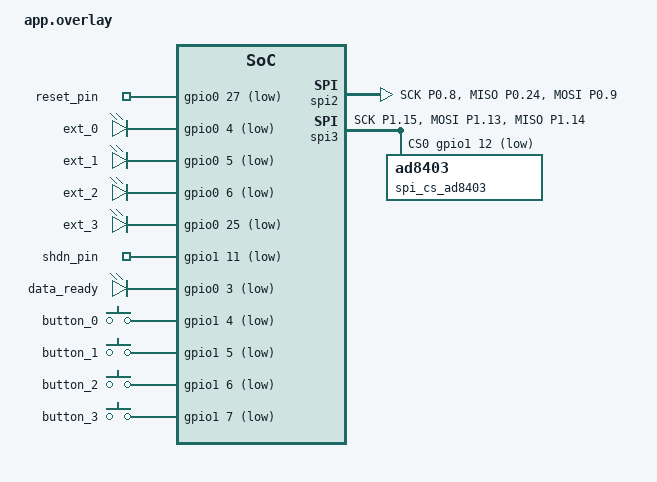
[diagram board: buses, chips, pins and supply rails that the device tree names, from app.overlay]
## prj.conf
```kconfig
# Enable the UART driver
CONFIG_UART_ASYNC_API=y
CONFIG_NRFX_UARTE0=y
CONFIG_SERIAL=y
CONFIG_GPIO=y

# Make sure printk is printing to the UART console
CONFIG_CONSOLE=y
CONFIG_UART_CONSOLE=y
CONFIG_HEAP_MEM_POOL_SIZE=4096

CONFIG_BT=y
CONFIG_BT_HCI=y
CONFIG_BT_PERIPHERAL=y
CONFIG_BT_GATT_CLIENT=y
CONFIG_BT_GATT_DM=y
CONFIG_BT_DEVICE_NAME="My_Nordic_Board"
CONFIG_BT_DEVICE_APPEARANCE=833
CONFIG_BT_MAX_CONN=1
CONFIG_BT_MAX_PAIRED=1
CONFIG_BT_L2CAP_TX_MTU=512
CONFIG_LOG_MODE_DEFERRED=y
CONFIG_LOG_BUFFER_SIZE=8192

# Enable the NUS service
CONFIG_BT_NUS=y

# Enable bonding
CONFIG_BT_SETTINGS=y
CONFIG_FLASH=y
CONFIG_FLASH_PAGE_LAYOUT=y
CONFIG_FLASH_MAP=y
CONFIG_NVS=y
CONFIG_SETTINGS=y

# Enable DK LED and Buttons library
CONFIG_DK_LIBRARY=y

# This example requires more workqueue stack
CONFIG_SYSTEM_WORKQUEUE_STACK_SIZE=2048

# Config logger
CONFIG_LOG=y
CONFIG_USE_SEGGER_RTT=y
CONFIG_LOG_BACKEND_RTT=y
CONFIG_LOG_BACKEND_UART=y
CONFIG_LOG_PRINTK=y
CONFIG_ASSERT=y

# SPIM
CONFIG_SPI=y
CONFIG_NRFX_SPIM2=y
CONFIG_MAIN_STACK_SIZE=4096

CONFIG_DEBUG=y
CONFIG_DEBUG_THREAD_INFO=y

CONFIG_NCS_SAMPLE_MCUMGR_BT_OTA_DFU_SPEEDUP=y

CONFIG_BT_CTLR_DATA_LENGTH_MAX=251
CONFIG_BT_CTLR_PHY_2M=y
CONFIG_BT_CTLR_PHY_CODED=y
CONFIG_BT_CTLR_SDC_MAX_CONN_EVENT_LEN_DEFAULT=4000000

CONFIG_BT_LL_SOFTDEVICE=y

CONFIG_BT_USER_DATA_LEN_UPDATE=y
CONFIG_BT_USER_PHY_UPDATE=y
```

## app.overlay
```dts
/ {
	chosen {
		nordic,nus-uart = &uart0;
	};
};

/ {
	aliases {
		reset = &reset_pin;
        drdy = &data_ready;

		ext0 = &ext_0;
        ext1 = &ext_1;
        ext2 = &ext_2;
        ext3 = &ext_3;

        swext0 = &button_0;
        swext1 = &button_1;
        swext2 = &button_2;
        swext3 = &button_3;

		shdn = &shdn_pin;
	};
};

/ {
	leds {
		compatible = "gpio-leds";
        
		reset_pin: rest {
			gpios = <&gpio0 27 GPIO_ACTIVE_LOW>;
		};

		ext_0: lambda_660 {
            gpios = <&gpio0 4 GPIO_ACTIVE_LOW>;
        };

        ext_1: lambda_735 {
            gpios = <&gpio0 5 GPIO_ACTIVE_LOW>;
        };

        ext_2: lambda_810 {
            gpios = <&gpio0 6 GPIO_ACTIVE_LOW>;
        };

        ext_3: lambda_940 {
            gpios = <&gpio0 25 GPIO_ACTIVE_LOW>;
        };

        shdn_pin: shut_down {
            gpios = <&gpio1 11 GPIO_ACTIVE_LOW>;
        };

        data_ready: drdy_pin {
            gpios = <&gpio0 3 GPIO_ACTIVE_LOW>;
        };
	};

	buttons {
        compatible = "gpio-keys";
        
        button_0: Change {
            gpios = <&gpio1 4 (GPIO_PULL_UP | GPIO_ACTIVE_LOW)>;
        };

        button_1: Increase {
            gpios = <&gpio1 5 (GPIO_PULL_UP | GPIO_ACTIVE_LOW)>;
        };

        button_2: Decrease {
            gpios = <&gpio1 6 (GPIO_PULL_UP | GPIO_ACTIVE_LOW)>;
        };

        button_3: Stop {
            gpios = <&gpio1 7 (GPIO_PULL_UP | GPIO_ACTIVE_LOW)>;
        };
    };
};


&pinctrl {
	spi_dummy: spi_dummy {
        group1 {
            psels = <NRF_PSEL(SPIM_SCK, 0, 8)>,
                <NRF_PSEL(SPIM_MISO, 0, 24)>,
                <NRF_PSEL(SPIM_MOSI, 0, 9)>;
        };
    };
	spi_dummy_sleep: spi_dummy_sleep {
        group1 {
            psels = <NRF_PSEL(SPIM_SCK, 0, 8)>,
                <NRF_PSEL(SPIM_MISO, 0, 24)>,
                <NRF_PSEL(SPIM_MOSI, 0, 9)>;
			low-power-enable;		
        };
    };
};

&spi2 {
	compatible = "nordic,nrf-spim";
	status = "okay";
	pinctrl-names = "default", "sleep";
	pinctrl-0 = <&spi_dummy>;
	pinctrl-1 = <&spi_dummy_sleep>;
};

&gpio0 {
	status = "okay";
	label = "GPIO_0";
};

&gpio1 {
	status = "okay";
	label = "GPIO_1";
};

&pinctrl {
	spi3_default: spi3_default {
		group1 {
			psels = <NRF_PSEL(SPIM_SCK, 1, 15)>,
					<NRF_PSEL(SPIM_MOSI, 1, 13)>,
					<NRF_PSEL(SPIM_MISO, 1, 14)>;
		};
	};

	spi3_sleep: spi3_sleep {
		group1 {
			psels = <NRF_PSEL(SPIM_SCK, 1, 15)>,
					<NRF_PSEL(SPIM_MOSI, 1, 13)>,
					<NRF_PSEL(SPIM_MISO, 1, 14)>;
			low-power-enable;
		};
	};
};

spi_ad8403: &spi3 {
    compatible = "nordic,nrf-spim";
    status = "okay";
    pinctrl-0 = <&spi3_default>;
    pinctrl-1 = <&spi3_sleep>;
    pinctrl-names = "default", "sleep";
    cs-gpios = <&gpio1 12 GPIO_ACTIVE_LOW>;
	spi_cs_ad8403:  ad8403@0 {
		reg = <0>;
	};
};
```

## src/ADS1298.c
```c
#include "ADS1298.h"
#include <nrfx_spim.h>
#include <zephyr/device.h>
#include <zephyr/devicetree.h>
#include <zephyr/drivers/gpio.h>

volatile enum state_t {idle, send_command, receive_data, read_data, processing_data} state = idle;
bool new_data_available = false;

static const nrfx_spim_t m_spi = NRFX_SPIM_INSTANCE(SPI_INSTANCE);
volatile uint8_t rx_buffer[27], tx_buffer[8];
uint8_t sample_number = 0;

const struct device *gpio_dev_0;

inline int32_t buffer_to_channel(uint8_t id);
bool ADS1298_receive_data();
ADS1298_data_t ADS1298_convert_data();

void spim_event_handler(nrfx_spim_evt_t const *p_event, void *p_context) 
{
    switch (p_event->type)
    {
    case NRFX_SPIM_EVENT_DONE:
        if(state == receive_data) {
            new_data_available = true;
        } 
        state = idle;
        break;
    default:
        break;
    }
    return;
}

#define APP_SPIM_CS_PIN (2)
#define APP_SPIM_SCK_PIN (8)
#define APP_SPIM_MISO_PIN (24)
#define APP_SPIM_MOSI_PIN (9)
#define NRFX_SPIM_PIN_NOT_USED 0xFF

bool ADS1298_init() {
    nrfx_spim_config_t config = NRFX_SPIM_DEFAULT_CONFIG(APP_SPIM_SCK_PIN, APP_SPIM_MOSI_PIN, APP_SPIM_MISO_PIN, NRFX_SPIM_PIN_NOT_USED);
    config.frequency = NRF_SPIM_FREQ_8M;
    config.ss_active_high = false;
    config.bit_order = SPIM_CONFIG_ORDER_MsbFirst;
    config.mode = NRF_SPIM_MODE_1;
    
    //nrfx_spim_uninit(&m_spi);
    int err = nrfx_spim_init(&m_spi, &config, spim_event_handler, NULL);

     if(err == NRFX_SUCCESS) {
    } else {
        return false;
    }
    
    gpio_dev_0 = device_get_binding("GPIO_0");

    if (gpio_dev_0 == NULL) {
		return false;
	}

    return true; 
}

void poll_dready() {
    if(gpio_pin_get(gpio_dev_0, 3) == 0) {
        ADS1298_receive_data();
    }
}

int spi_transfer(const nrfx_spim_xfer_desc_t *desc) {
    return nrfx_spim_xfer(&m_spi, desc, 0);
}

bool ADS1298_send_command(uint8_t command) {
    if(state == idle) {
        nrfx_spim_xfer_desc_t spim_xfer_desc = NRFX_SPIM_XFER_TX(tx_buffer, 1);
        spim_xfer_desc.p_rx_buffer = NULL;
        spim_xfer_desc.rx_length = 0;
        tx_buffer[0] = command;
        state = send_command;

        int err = spi_transfer(&spim_xfer_desc);
        if(err != NRFX_SUCCESS) {
        }
        return true;
    } else {
        return false;
    }
}

/* function de read bloquant */
uint8_t ADS1298_read_data() {
    if(state == idle) {
        state = read_data;
        new_data_available = false;
        nrfx_spim_xfer_desc_t spim_xfer_desc = NRFX_SPIM_XFER_RX((uint8_t *)rx_buffer, 1);

        spi_transfer(&spim_xfer_desc);
        while(state != idle)
        {
          __WFE();
        }
        return rx_buffer[0];
    } else {
        return ;
    }
}

bool ADS1298_receive_data() {
    if(state == idle) {
        state = receive_data;
        new_data_available = false;
        nrfx_spim_xfer_desc_t spim_xfer_desc = NRFX_SPIM_XFER_RX(rx_buffer, 27);
        spi_transfer(&spim_xfer_desc);
        return true;
    } else {
        return false;
    }
}

bool ADS1298_poll_new_data(ADS1298_data_t *data) {
    if(new_data_available) {
        new_data_available = false;
        state = processing_data;

        *data = ADS1298_convert_data();
       
        state = idle;
        return true;
    } else {
        return false;
    }
}

ADS1298_data_t ADS1298_convert_data() {
    /* Data structure: */
    /* 24 bit status */
    /*  - 1100 + LOFF_STATP(8 bit) + LOFF_STATN(8 bit) + GPIO(4 bit) */
    /* 8ch * 24 bits data */

    ADS1298_data_t data;
    
    data.lead_off_positive = rx_buffer[0] << 4;
    data.lead_off_positive |= (rx_buffer[1] & 0b11110000) >> 4;
    data.lead_off_negative = rx_buffer[1] << 4;
    data.lead_off_negative |= (rx_buffer[2] & 0b11110000) >> 4;

    data.gpio_0 = rx_buffer[2] & 0b00001000;
    data.gpio_1 = rx_buffer[2] & 0b00000100;
    data.gpio_2 = rx_buffer[2] & 0b00000010;
    data.gpio_3 = rx_buffer[2] & 0b00000001;

    data.channgel_0 = buffer_to_channel(0);
    data.channgel_1 = buffer_to_channel(1);
    data.channgel_2 = buffer_to_channel(2);
    data.channgel_3 = buffer_to_channel(3);
    data.channgel_4 = buffer_to_channel(4);
    data.channgel_5 = buffer_to_channel(5);
    data.channgel_6 = buffer_to_channel(6);
    data.channgel_7 = buffer_to_channel(7);

    return data;
}

inline int32_t buffer_to_channel(uint8_t id) {
    return rx_buffer[3 + id] << 16 | (rx_buffer[3 + id + 1] << 8) | rx_buffer[3 + id + 2];
}

bool get_spi_busy() {
    return state != idle;
}

uint8_t ads1298_read_ID()             
{
    ADS1298_send_command(0x20);// OPCODE1 = 0x20 = 0b0010 0000 : 001 = commande READ RREG |  0 0000 = Adresse du registe ID 
    k_usleep(64);
	ADS1298_send_command(0x00); // OPCODE2 = number of register -1 = 0= 0x00
    k_usleep(64);
	return ADS1298_read_data();
}

bool ads1298_write_command(uint8_t val)
{	
	ADS1298_send_command(val);
	return true;	
}

bool ads1298_write_register(uint8_t reg, uint8_t val)
{
    ads1298_write_multiple_register(reg, &val, 1);
    return true;
}

bool ads1298_write_multiple_register(uint8_t reg, uint8_t* val, uint8_t num)
{	
	ADS1298_send_command(ADS129X_CMD_WREG | (reg & 0x1F));
    k_usleep(64);
	ADS1298_send_command((num - 1) & 0x1F);
    k_usleep(64);
	
	for(int i = 0; i < num; i++) {
        ADS1298_send_command(*(val + i));
        k_usleep(64);
    }

    return true;	
}
  
bool ADS1298_send_start() {
    return ADS1298_send_command(COMMAND_START);
}
bool ADS1298_send_stop() {
    return ADS1298_send_command(COMMAND_STOP);
}
bool ADS1298_send_read_continuous() {
    return ADS1298_send_command(COMMAND_RDATAC);
}

bool ADS1298_send_read_data() {
    return ADS1298_send_command(COMMAND_RDATA);
}

bool ADS1298_send_stop_read_continuous() {
    return ADS1298_send_command(COMMAND_SDATAC);
}

bool ADS1298_send_reset() {
    return ADS1298_send_command(COMMAND_RESET);
}

bool ADS1298_send_wakeup() {
    return ADS1298_send_command(COMMAND_WAKEUP);
}
```

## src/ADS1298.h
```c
#ifndef _ADS1298_H
#define _ADS1298_H

#include <stdint.h>
#include <stdbool.h>


#define SPI_INSTANCE 2


#define PIN_SCK NRF_GPIO_PIN_MAP(0, 8)
#define PIN_MOSI NRF_GPIO_PIN_MAP(0, 9)
#define PIN_MISO NRF_GPIO_PIN_MAP(0, 24)
#define PIN_CS NRF_GPIO_PIN_MAP(0, 2)

#define PIN_DRDY NRF_GPIO_PIN_MAP(0, 3)

#define COMMAND_WAKEUP 0x02
#define COMMAND_STANDBY 0x04
#define COMMAND_RESET 0x06
#define COMMAND_START 0x08
#define COMMAND_STOP 0x0A
#define COMMAND_RDATA 0x12
#define COMMAND_RDATAC 0x10
#define COMMAND_SDATAC 0x11
#define COMMAND_RREG 0b00100000
#define COMMAND_WREG 0b01000000


// SPI Command Definition Byte Assignments (Datasheet, pg. 35)
#define ADS129X_CMD_WAKEUP  0x02 // Wake-up from standby mode
#define ADS129X_CMD_STANDBY 0x04 // Enter Standby mode
#define ADS129X_CMD_RESET   0x06 // Reset the device
#define ADS129X_CMD_START   0x08 // Start and restart (synchronize) conversions
#define ADS129X_CMD_STOP    0x0A // Stop conversion
#define ADS129X_CMD_RDATAC  0x10 // Enable Read Data Continuous mode (default mode at power-up)
#define ADS129X_CMD_SDATAC  0x11 // Stop Read Data Continuous mode
#define ADS129X_CMD_RDATA   0x12 // Read data by command; supports multiple read back
#define ADS129X_CMD_RREG    0x20 // (also = 00100000) is the first opcode that the address must be added to for RREG communication
#define ADS129X_CMD_WREG    0x40 // 01000000 in binary (Datasheet, pg. 35)



#define ADS129X_REG_ID         0x00 // ID Control Register
#define ADS129X_REG_CONFIG1    0x01 // Configuration Register 1
#define ADS129X_REG_CONFIG2    0x02 // Configuration Register 2
#define ADS129X_REG_CONFIG3    0x03 // Configuration Register 3
#define ADS129X_REG_LOFF       0x04 // Lead-Off Control Register
#define ADS129X_REG_CH1SET     0x05 // Individual Channel Settings 1-8
#define ADS129X_REG_CH2SET     0x06 // ---
#define ADS129X_REG_CH3SET     0x07 // ---
#define ADS129X_REG_CH4SET     0x08 // ---
#define ADS129X_REG_CH5SET     0x09 // ---
#define ADS129X_REG_CH6SET     0x0A // ---
#define ADS129X_REG_CH7SET     0x0B // ---
#define ADS129X_REG_CH8SET     0x0C // ---
#define ADS129X_REG_RLD_SENSP  0x0D // Right Leg Drive, positive side
#define ADS129X_REG_RLD_SENSN  0x0E // Right Leg Drive, negative side
#define ADS129X_REG_LOFF_SENSP 0x0F // Lead-Off Detection, positive side
#define ADS129X_REG_LOFF_SENSN 0x10 // Lead-Off Detection, negative side
#define ADS129X_REG_LOFF_FLIP  0x11 // Lead-Off Detection, current direction
#define ADS129X_REG_LOFF_STATP 0x12 // Electrode Status, positive (read-only)
#define ADS129X_REG_LOFF_STATN 0x13 // Electrode Status, negative (read-only)
#define ADS129X_REG_GPIO       0x14 // General-Purpose I/O Register
#define ADS129X_REG_PACE       0x15 // PACE Detect Register
#define ADS129X_REG_RESP       0x16 // Respiration Control Register
#define ADS129X_REG_CONFIG4    0x17 // Configuration Register 4
#define ADS129X_REG_WCT1       0x18 // Wilson Central Terminal and Augmented Lead Control Register
#define ADS129X_REG_WCT2       0x19 // Wilson Central Terminal Control Register

// IDs
#define ADS129X_ID_ADS1294  0x90
#define ADS129X_ID_ADS1296  0x91
#define ADS129X_ID_ADS1298  0x92
#define ADS129X_ID_ADS1294R 0xD0
#define ADS129X_ID_ADS1296R 0xD1
#define ADS129X_ID_ADS1298R 0xD2

// Configuration Register 1
#define ADS129X_BIT_HR       0x7
#define ADS129X_BIT_DAISY_EN 0x6
#define ADS129X_BIT_CLK_EN   0x5
// always 0
// always 0
#define ADS129X_BIT_DR2      0x2
#define ADS129X_BIT_DR1      0x1
#define ADS129X_BIT_DR0      0x0

// Configuration Register 2
// always 0
// always 0
#define ADS129X_BIT_WCT_CHOP   0x5
#define ADS129X_BIT_INT_TEST   0x4
// always 0
#define ADS129X_BIT_TEST_AMP   0x2
#define ADS129X_BIT_TEST_FREQ1 0x1
#define ADS129X_BIT_TEST_FREQ0 0x0
#define ADS129X_TEST_FREQ_1HZ  0x0
#define ADS129X_TEST_FREQ_2HZ  0x1
#define ADS129X_TEST_FREQ_DC   0x3

// Configuration Register 3
#define ADS129X_BIT_PD_REFBUF     0x7
// always 1
#define ADS129X_BIT_VREF_4V       0x5
#define ADS129X_BIT_RLD_MEAS      0x4
#define ADS129X_BIT_RLDREF_INT    0x3
#define ADS129X_BIT_PD_RLD        0x2
#define ADS129X_BIT_RLD_LOFF_SENS 0x1
#define ADS129X_BIT_RLD_STAT      0x0

// Lead-Off Control Register
#define ADS129X_BIT_COMP_TH2     0x7
#define ADS129X_BIT_COMP_TH1     0x6
#define ADS129X_BIT_COMP_TH0     0x5
#define ADS129X_BIT_VLEAD_OFF_EN 0x4
#define ADS129X_BIT_ILEAD_OFF1   0x3
#define ADS129X_BIT_ILEAD_OFF0   0x2
#define ADS129X_BIT_FLEAD_OFF1   0x1
#define ADS129X_BIT_FLEAD_OFF0   0x0

// Individual Channel Settings
#define ADS129X_BIT_PD    0x7
#define ADS129X_BIT_GAIN2 0x6
#define ADS129X_BIT_GAIN1 0x5
#define ADS129X_BIT_GAIN0 0x4
// always 0
#define ADS129X_BIT_MUX2  0x2
#define ADS129X_BIT_MUX1  0x1
#define ADS129X_BIT_MUX0  0x0

// Channel Select
#define ADS129X_BIT_CH8 0x7
#define ADS129X_BIT_CH7 0x6
#define ADS129X_BIT_CH6 0x5
#define ADS129X_BIT_CH5 0x4
#define ADS129X_BIT_CH4 0x3
#define ADS129X_BIT_CH3 0x2
#define ADS129X_BIT_CH2 0x1
#define ADS129X_BIT_CH1 0x0

// General-Purpose I/O Register
#define ADS129X_BIT_GPIOD4 0x7
#define ADS129X_BIT_GPIOD3 0x6
#define ADS129X_BIT_GPIOD2 0x5
#define ADS129X_BIT_GPIOD1 0x4
#define ADS129X_BIT_GPIOC4 0x3
#define ADS129X_BIT_GPIOC3 0x2
#define ADS129X_BIT_GPIOC2 0x1
#define ADS129X_BIT_GPIOC1 0x0

// PACE Detect Register
// always 0
// always 0
// always 0
#define ADS129X_BIT_PACEE1  0x4
#define ADS129X_BIT_PACEE0  0x3
#define ADS129X_BIT_PACEO1  0x2
#define ADS129X_BIT_PACEO0  0x1
#define ADS129X_BIT_PD_PACE 0x0

// Respiration Control Register
#define ADS129X_BIT_RESP_DEMOD_EN1 0x7
#define ADS129X_BIT_RESP_MOD_EN1   0x6
// always 1
#define ADS129X_BIT_RESP_PH2       0x4
#define ADS129X_BIT_RESP_PH1       0x3
#define ADS129X_BIT_RESP_PH0       0x2
#define ADS129X_BIT_RESP_CTRL1     0x1
#define ADS129X_BIT_RESP_CTRL0     0x0

// Configuration Register 4
#define ADS129X_BIT_RESP_FREQ2   0x7
#define ADS129X_BIT_RESP_FREQ1   0x6
#define ADS129X_BIT_RESP_FREQ0   0x5
// always 0
#define ADS129X_BIT_SINGLE_SHOT  0x3
#define ADS129X_BIT_WCT_TO_RLD   0x2
#define ADS129X_BIT_PD_LOFF_COMP 0x1
// always 0

// Wilson Central Terminal and Augmented Lead Control Register
#define ADS129X_BIT_aVF_CH6 0x7
#define ADS129X_BIT_aVF_CH5 0x6
#define ADS129X_BIT_aVF_CH7 0x5
#define ADS129X_BIT_aVF_CH4 0x4
#define ADS129X_BIT_PD_WCTA 0x3
#define ADS129X_BIT_WCTA2   0x2
#define ADS129X_BIT_WCTA1   0x1
#define ADS129X_BIT_WCTA0   0x0

// Wilson Central Terminal Control Register
#define ADS129X_BIT_PD_WCTC 0x7
#define ADS129X_BIT_PD_WCTB 0x6
#define ADS129X_BIT_WCTB2   0x5
#define ADS129X_BIT_WCTB1   0x4
#define ADS129X_BIT_WCTB0   0x3
#define ADS129X_BIT_WCTC2   0x2
#define ADS129X_BIT_WCTC1   0x1
#define ADS129X_BIT_WCTC0   0x0

// Gain Configuration
#define ADS129X_GAIN_6X     0x0
#define ADS129X_GAIN_1X     0x1
#define ADS129X_GAIN_2X     0x2
#define ADS129X_GAIN_3X     0x3
#define ADS129X_GAIN_4X     0x4
#define ADS129X_GAIN_8X     0x5
#define ADS129X_GAIN_12X    0x6

// Mux Configuration
#define ADS129X_MUX_NORMAL      0x0 // Normal electrode input (default)
#define ADS129X_MUX_SHORT       0x1 // Input shorted (for offset or noise measurements)
#define ADS129X_MUX_RLD_MEAS    0x2 // Used in conjunction with RLD_MEAS bit for RLD measurements
#define ADS129X_MUX_MVDD        0x3 // MVDD for supply measurement
#define ADS129X_MUX_TEMP        0x4 // Temperature sensor
#define ADS129X_MUX_TEST        0x5 // Test signal
#define ADS129X_MUX_RLD_DRP     0x6 // RLD_DRP (positive electrode is the driver)
#define ADS129X_MUX_RLD_DRN     0x7 // RLD_DRN (negative electrode is the driver)

// Sample-rate Configuration
#define ADS129X_SAMPLERATE_LP_250 	0x46
#define ADS129X_SAMPLERATE_LP_500  	0x45
#define ADS129X_SAMPLERATE_LP_1K  	0x44
#define ADS129X_SAMPLERATE_LP_2K  	0x43
#define ADS129X_SAMPLERATE_LP_4K   	0x42
#define ADS129X_SAMPLERATE_LP_8K  	0x41
#define ADS129X_SAMPLERATE_LP_16K       0x40

// channel Info
#define GAIN_ONE                                          0x10
#define GAIN_TWO                                          0x20
#define GAIN_THREE                                        0x30
#define GAIN_FOUR                                         0x40
#define GAIN_SIX                                          0x00
#define GAIN_EIGHT                                        0x50
#define GAIN_TWELVE                                       0x60
#define TURN_OFF_CHANNEL                                  0x80
#define INPUT_SHORT                                       0x01



bool ads1298_write_multiple_register(uint8_t reg, uint8_t* val, uint8_t num);
bool ads1298_write_register(uint8_t reg, uint8_t val);


uint8_t ads1298_read_register_kar(uint8_t reg);
bool ADS1298_send_command(uint8_t command);
bool ADS1298_init();
bool ADS1298_send_start();
bool ADS1298_send_stop();
bool ADS1298_send_reset();
bool ADS1298_send_wakeup();
bool ADS1298_send_read_continuous();
bool ADS1298_send_stop_read_continuous();
bool ADS1298_poll_new_data();
bool get_spi_busy();



typedef struct ADS1298_data
{
    uint8_t lead_off_positive;
    uint8_t lead_off_negative;
    bool gpio_0;
    bool gpio_1;
    bool gpio_2;
    bool gpio_3;
    int32_t channgel_0;
    int32_t channgel_1;
    int32_t channgel_2;
    int32_t channgel_3;
    int32_t channgel_4;
    int32_t channgel_5;
    int32_t channgel_6;
    int32_t channgel_7;
} ADS1298_data_t;


typedef struct data_8chs
{
    int32_t channel_1;
    int32_t channel_2;
    int32_t channel_3;
    int32_t channel_4;
    int32_t channel_5;
    int32_t channel_6;
    int32_t channel_7;
    int32_t channel_8;

} data_8chs_t;


#endif /* _ADS1298_H */
```
